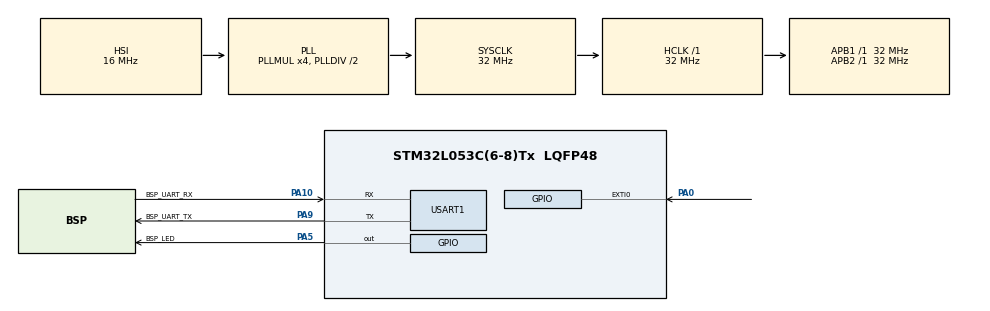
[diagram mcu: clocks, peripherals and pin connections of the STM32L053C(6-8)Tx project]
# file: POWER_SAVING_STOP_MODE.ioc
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Mcu.Family=STM32L0
Mcu.Name=STM32L053C(6-8)Tx
Mcu.Package=LQFP48
NVIC.EXTI0_1_IRQn=true\:0\:0\:false\:false\:true\:true\:true\:true
NVIC.USART1_IRQn=true\:0\:0\:false\:false\:true\:true\:true\:true
PA0.Signal=GPXTI0
PA10.GPIO_Label=BSP_UART_RX
PA10.Mode=Asynchronous
PA10.Signal=USART1_RX
PA13.Mode=Serial_Wire
PA13.Signal=SYS_SWDIO
PA14.Mode=Serial_Wire
PA14.Signal=SYS_SWCLK
PA5.GPIO_Label=BSP_LED
PA5.Signal=GPIO_Output
PA9.GPIO_Label=BSP_UART_TX
PA9.Mode=Asynchronous
PA9.Signal=USART1_TX
PH0-OSC_IN.Mode=HSE-External-Oscillator
PH0-OSC_IN.Signal=RCC_OSC_IN
PH1-OSC_OUT.Mode=HSE-External-Oscillator
PH1-OSC_OUT.Signal=RCC_OSC_OUT
ProjectManager.HeapSize=0x200
ProjectManager.StackSize=0x400
ProjectManager.TargetToolchain=STM32CubeIDE
RCC.AHBFreq_Value=32000000
RCC.APB1Freq_Value=32000000
RCC.APB1TimFreq_Value=32000000
RCC.APB2Freq_Value=32000000
RCC.APB2TimFreq_Value=32000000
RCC.HCLKFreq_Value=32000000
RCC.HSE_VALUE=8000000
RCC.HSI16_VALUE=16000000
RCC.HSI48MClockSelection=RCC_USBCLKSOURCE_HSI48
RCC.HSI48_VALUE=48000000
RCC.HSI_VALUE=16000000
RCC.MSI_VALUE=2097000
RCC.PLLMUL=RCC_PLLMUL_4
RCC.RTCClockSelectionVirtual=RCC_RTCCLKSOURCE_LSE
RCC.SYSCLKFreq_VALUE=32000000
RCC.SYSCLKSource=RCC_SYSCLKSOURCE_PLLCLK
RCC.VCOOutputFreq_Value=64000000
USART1.VirtualMode-Asynchronous=VM_ASYNC
board=STM32L0538-DISCO

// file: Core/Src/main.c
/* USER CODE BEGIN Header */
/**
 ******************************************************************************
 * @file           : main.c
 * @brief          : Main program body
 ******************************************************************************
 * @attention
 *
 * Copyright (c) 2023 STMicroelectronics.
 * All rights reserved.
 *
 * This software is licensed under terms that can be found in the LICENSE file
 * in the root directory of this software component.
 * If no LICENSE file comes with this software, it is provided AS-IS.
 *
 ******************************************************************************
 */
/* USER CODE END Header */
#include "main.h"

/* USER CODE BEGIN Includes */
#include <stdio.h>
#include <string.h>
/* USER CODE END Includes */

UART_HandleTypeDef huart1;

/* USER CODE BEGIN PV */
char *str;
char *str2;
/* USER CODE END PV */

void SystemClock_Config(void);
static void MX_GPIO_Init(void);
static void MX_USART1_UART_Init(void);

int main(void)
{

  /* MCU Configuration--------------------------------------------------------*/

  /* Reset of all peripherals, Initializes the Flash interface and the Systick. */
  HAL_Init();

  /* Configure the system clock */
  SystemClock_Config();

  /* Initialize all configured peripherals */
  MX_GPIO_Init();
  MX_USART1_UART_Init();
  /* USER CODE BEGIN 2 */
	for (int i = 0; i < 20; i++) {
		HAL_GPIO_TogglePin(BSP_LED_GPIO_Port, BSP_LED_Pin);
		HAL_Delay(100);
	}

	str = "About to go into STOP MODE...\r\n";
	HAL_UART_Transmit(&huart1, (uint8_t*) str, strlen(str), HAL_MAX_DELAY);

	/*** suspend the systic clock before going into stop mode ***/
	HAL_SuspendTick();

	/** enter to the stop mode **/
	HAL_PWR_EnterSTOPMode(PWR_LOWPOWERREGULATOR_ON, PWR_STOPENTRY_WFI);

	/** wake up from stop mode **/
	SystemClock_Config();
	HAL_ResumeTick();

	for (int i = 0; i < 5; i++) {
		HAL_GPIO_TogglePin(BSP_LED_GPIO_Port, BSP_LED_Pin);
		HAL_Delay(100);
	}

	str2 = "Wakeup from the STOP MODE...\r\n";
	HAL_UART_Transmit(&huart1, (uint8_t*) str2, strlen(str2), HAL_MAX_DELAY);
  /* USER CODE END 2 */

  /* Infinite loop */
	while (1) {

	}
}

void SystemClock_Config(void)
{
  RCC_OscInitTypeDef RCC_OscInitStruct = {0};
  RCC_ClkInitTypeDef RCC_ClkInitStruct = {0};
  RCC_PeriphCLKInitTypeDef PeriphClkInit = {0};

  /** Configure the main internal regulator output voltage
  */
  __HAL_PWR_VOLTAGESCALING_CONFIG(PWR_REGULATOR_VOLTAGE_SCALE1);

  /** Initializes the RCC Oscillators according to the specified parameters
  * in the RCC_OscInitTypeDef structure.
  */
  RCC_OscInitStruct.OscillatorType = RCC_OSCILLATORTYPE_HSI;
  RCC_OscInitStruct.HSIState = RCC_HSI_ON;
  RCC_OscInitStruct.HSICalibrationValue = RCC_HSICALIBRATION_DEFAULT;
  RCC_OscInitStruct.PLL.PLLState = RCC_PLL_ON;
  RCC_OscInitStruct.PLL.PLLSource = RCC_PLLSOURCE_HSI;
  RCC_OscInitStruct.PLL.PLLMUL = RCC_PLLMUL_4;
  RCC_OscInitStruct.PLL.PLLDIV = RCC_PLLDIV_2;
  if (HAL_RCC_OscConfig(&RCC_OscInitStruct) != HAL_OK)
  {
    Error_Handler();
  }

  /** Initializes the CPU, AHB and APB buses clocks
  */
  RCC_ClkInitStruct.ClockType = RCC_CLOCKTYPE_HCLK|RCC_CLOCKTYPE_SYSCLK
                              |RCC_CLOCKTYPE_PCLK1|RCC_CLOCKTYPE_PCLK2;
  RCC_ClkInitStruct.SYSCLKSource = RCC_SYSCLKSOURCE_PLLCLK;
  RCC_ClkInitStruct.AHBCLKDivider = RCC_SYSCLK_DIV1;
  RCC_ClkInitStruct.APB1CLKDivider = RCC_HCLK_DIV1;
  RCC_ClkInitStruct.APB2CLKDivider = RCC_HCLK_DIV1;

  if (HAL_RCC_ClockConfig(&RCC_ClkInitStruct, FLASH_LATENCY_1) != HAL_OK)
  {
    Error_Handler();
  }
  PeriphClkInit.PeriphClockSelection = RCC_PERIPHCLK_USART1;
  PeriphClkInit.Usart1ClockSelection = RCC_USART1CLKSOURCE_PCLK2;
  if (HAL_RCCEx_PeriphCLKConfig(&PeriphClkInit) != HAL_OK)
  {
    Error_Handler();
  }
}

static void MX_USART1_UART_Init(void)
{

  huart1.Instance = USART1;
  huart1.Init.BaudRate = 115200;
  huart1.Init.WordLength = UART_WORDLENGTH_8B;
  huart1.Init.StopBits = UART_STOPBITS_1;
  huart1.Init.Parity = UART_PARITY_NONE;
  huart1.Init.Mode = UART_MODE_TX_RX;
  huart1.Init.HwFlowCtl = UART_HWCONTROL_NONE;
  huart1.Init.OverSampling = UART_OVERSAMPLING_16;
  huart1.Init.OneBitSampling = UART_ONE_BIT_SAMPLE_DISABLE;
  huart1.AdvancedInit.AdvFeatureInit = UART_ADVFEATURE_NO_INIT;
  if (HAL_UART_Init(&huart1) != HAL_OK)
  {
    Error_Handler();
  }

}

static void MX_GPIO_Init(void)
{
  GPIO_InitTypeDef GPIO_InitStruct = {0};

  /* GPIO Ports Clock Enable */
  __HAL_RCC_GPIOH_CLK_ENABLE();
  __HAL_RCC_GPIOA_CLK_ENABLE();

  /*Configure GPIO pin Output Level */
  HAL_GPIO_WritePin(BSP_LED_GPIO_Port, BSP_LED_Pin, GPIO_PIN_RESET);

  /*Configure GPIO pin : PA0 */
  GPIO_InitStruct.Pin = GPIO_PIN_0;
  GPIO_InitStruct.Mode = GPIO_MODE_IT_RISING;
  GPIO_InitStruct.Pull = GPIO_NOPULL;
  HAL_GPIO_Init(GPIOA, &GPIO_InitStruct);

  /*Configure GPIO pin : BSP_LED_Pin */
  GPIO_InitStruct.Pin = BSP_LED_Pin;
  GPIO_InitStruct.Mode = GPIO_MODE_OUTPUT_PP;
  GPIO_InitStruct.Pull = GPIO_NOPULL;
  GPIO_InitStruct.Speed = GPIO_SPEED_FREQ_LOW;
  HAL_GPIO_Init(BSP_LED_GPIO_Port, &GPIO_InitStruct);

  /* EXTI interrupt init*/
  HAL_NVIC_SetPriority(EXTI0_1_IRQn, 0, 0);
  HAL_NVIC_EnableIRQ(EXTI0_1_IRQn);

}

void Error_Handler(void)
{
	__disable_irq();
	while (1) {
	}
}
